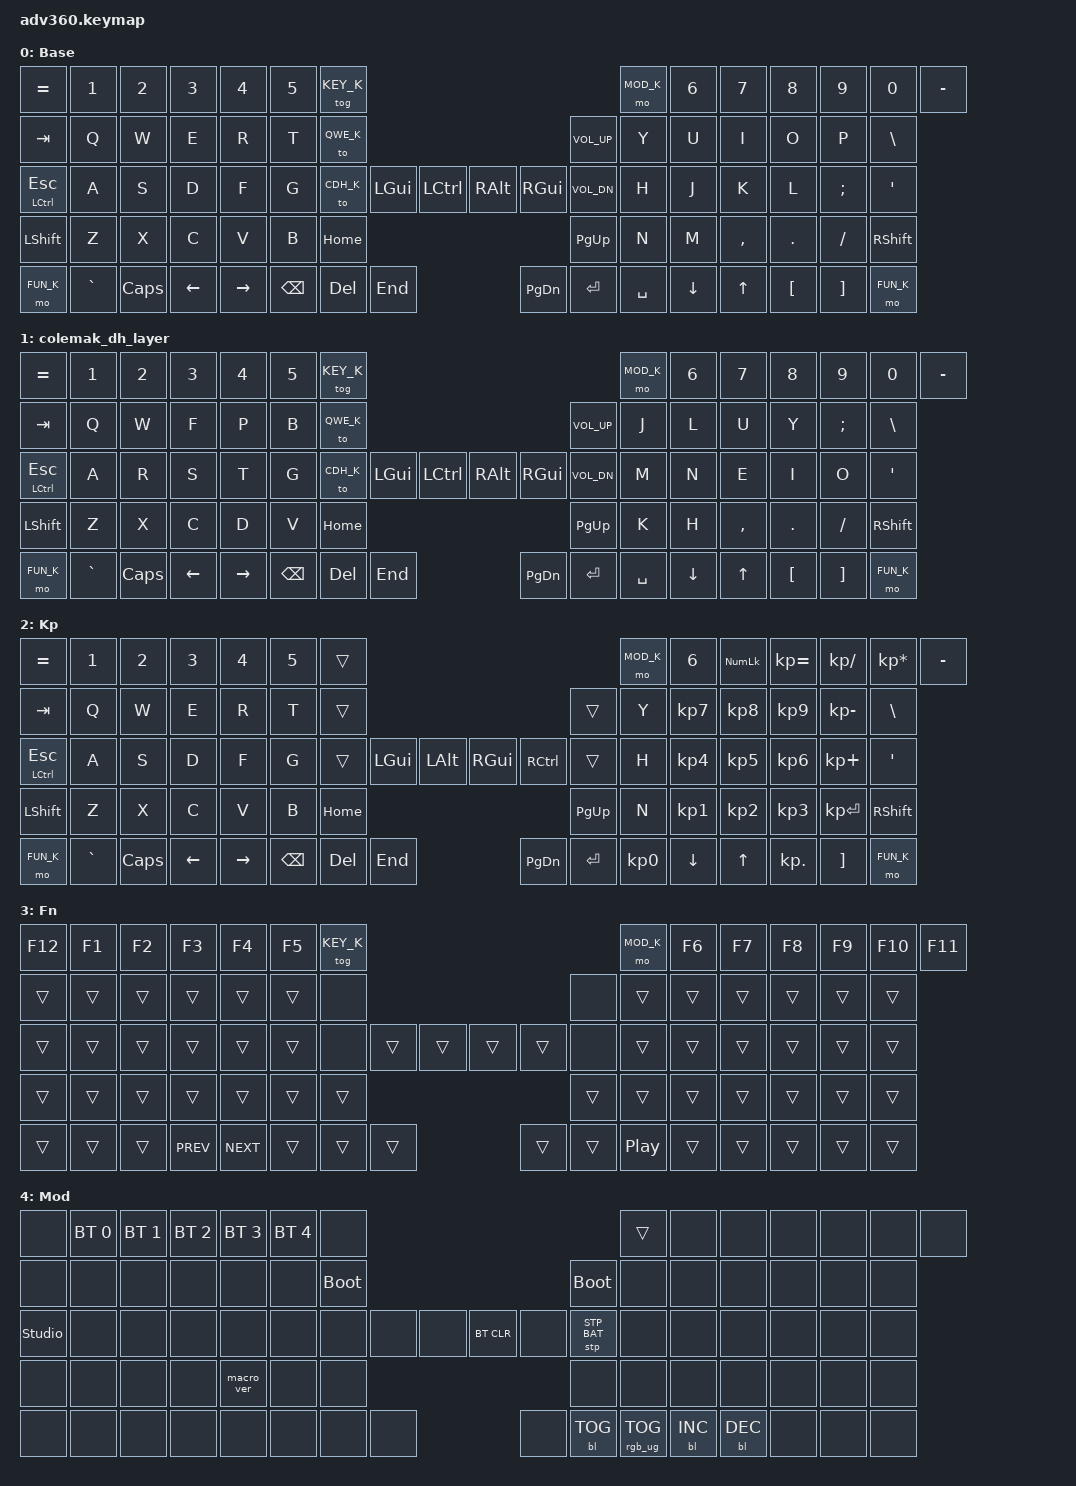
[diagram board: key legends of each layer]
#include <behaviors.dtsi>
#include <dt-bindings/zmk/keys.h>
#include <dt-bindings/zmk/bt.h>
#include <dt-bindings/zmk/rgb.h>
#include <dt-bindings/zmk/stp.h>
#include <dt-bindings/zmk/backlight.h>
#include <dt-bindings/zmk/pointing.h>

#define KEYS_LEFT 0 1 2 3 4 5 6 \
                  14 15 16 17 18 19 20 \
                  28 29 30 31 32 33 34 \
                  46 47 48 49 50 51 \
                  66 67 68 69 70

#define KEYS_RIGHT 7 8 9 10 11 12 13 \
                   21 22 23 24 25 26 27 \
                   39 40 41 42 43 44 45 \
                   60 61 62 63 64 65 \
                   77 78 79 80 81

#define THUMBS_LEFT 35 36 54 71 72 73

#define THUMBS_RIGHT 37 38 57 74 75 76

#define THUMBS THUMBS_LEFT THUMBS_RIGHT

&lt {
    quick-tap-ms = <300>;
    global-quick-tap;
};

/ {
    behaviors {
      #include "macros.dtsi"
      #include "version.dtsi"

      hm: homerow_mods {
            compatible = "zmk,behavior-hold-tap"; // from default https://zmk.dev/docs/behaviors/hold-tap
            label = "HOMEROW_MODS";
            #binding-cells = <2>;
            tapping-term-ms = <200>;    // <---[[moderate duration]]
            quick-tap-ms = <175>;
            flavor = "balanced";
            bindings = <&kp>, <&kp>;
            hold-trigger-on-release;
      };

      hm_sft: homerow_mods_shift {
          flavor = "balanced";
          tapping-term-ms = <150>;
          quick-tap-ms = <175>;                // repeat on tap-into-hold
//          require-prior-idle-ms = <150>;
          compatible = "zmk,behavior-hold-tap";
          label = "HOMEROW_MODS_LEFT";
          #binding-cells = <2>;
          bindings = <&kp>, <&kp>;
          hold-trigger-on-release;             // delay positional check until key-release
      };

      hm_rpi: homerow_mods_prior_idle {
          flavor = "tap-preferred";
          tapping-term-ms = <250>;
//          quick-tap-ms = <175>;                // repeat on tap-into-hold
          require-prior-idle-ms = <150>;
          compatible = "zmk,behavior-hold-tap";
          label = "HOMEROW_MODS_RPI";
          #binding-cells = <2>;
          bindings = <&kp>, <&kp>;
          hold-trigger-on-release;             // delay positional check until key-release
      };

      hm_alt: homerow_mods_alt {
          flavor = "tap-preferred";
          tapping-term-ms = <200>;
//          quick-tap-ms = <175>;                // repeat on tap-into-hold
          require-prior-idle-ms = <190>;
          compatible = "zmk,behavior-hold-tap";
          label = "HOMEROW_MODS_ALT";
          #binding-cells = <2>;
          bindings = <&kp>, <&kp>;
          hold-trigger-on-release;             // delay positional check until key-release
      };

      hm_l: homerow_mods_left {
          flavor = "balanced";
          tapping-term-ms = <200>;
          quick-tap-ms = <175>;                // repeat on tap-into-hold
//          require-prior-idle-ms = <150>;
          compatible = "zmk,behavior-hold-tap";
          label = "HOMEROW_MODS_LEFT";
          #binding-cells = <2>;
          bindings = <&kp>, <&kp>;
          hold-trigger-key-positions = <KEYS_RIGHT THUMBS>;
          hold-trigger-on-release;             // delay positional check until key-release
      };

      hm_r: homerow_mods_right {
          flavor = "balanced";
          tapping-term-ms = <200>;
          quick-tap-ms = <175>;                // repeat on tap-into-hold
//          require-prior-idle-ms = <150>;
          compatible = "zmk,behavior-hold-tap";
          label = "HOMEROW_MODS_RIGHT";
          #binding-cells = <2>;
          bindings = <&kp>, <&kp>;
          hold-trigger-key-positions = <KEYS_LEFT THUMBS>;
          hold-trigger-on-release;             // delay positional check until key-release
      };
    };

    // Home row mods
    #define _F_SFT &hm_sft LSHFT F  // Shift on index fingers
    #define _J_SFT &hm_sft RSHFT J
    #define _D_CMD &hm_rpi LGUI D   // Command on middle fingers
    #define _K_CMD &hm_rpi RGUI K
    #define _M_CTL &hm_rpi RCTRL M
    #define _V_CTL &hm_rpi LCTRL V  // Control on index down
    #define _S_OPT &hm_alt LALT S   // Option on ring finger
    #define _L_OPT &hm_alt RALT L
    #define _ESC_CTL &hm_sft LCTRL ESC  // Control on index down

    // MacOS shortcuts
    #define _1PASS &kp LG(BSLH)      // 1Password
    #define _APEX  &kp LC(UP)        // App exposé
    #define _FQUIT &kp LA(LG(ESC))   // Force quit
    #define _MCTL  &kp LC(DOWN)      // Mission control
    #define _SCRNS &kp LG(LS(N4))    // Screenshot
    #define _EMOJI &kp LC(LG(SPACE)) // Emoji picker
    #define _NEXTS &kp LC(RIGHT)     // Next screen
    #define _PREVS &kp LC(LEFT)      // Previous screen

    #define QWE_K 0 // QWERTY
    #define CDH_K 1 // ColemakDH
    #define KEY_K 2 // Keypad
    #define FUN_K 3 // Function
    #define MOD_K 4 // Mod
  

  keymap {
    compatible = "zmk,keymap";

    default_layer {
      display-name = "Base";
      bindings = <
        &kp EQUAL &kp N1    &kp N2   &kp N3   &kp N4     &kp N5 &tog KEY_K                                                           &mo MOD_K        &kp N6 &kp N7  &kp N8    &kp N9   &kp N0   &kp MINUS
        &kp TAB   &kp Q     &kp W    &kp E    &kp R      &kp T  &to QWE_K                                                     &kp C_VOL_UP &kp Y  &kp U   &kp I     &kp O    &kp P    &kp BSLH
        _ESC_CTL  &kp A     &kp S    &kp D    &kp F      &kp G  &to CDH_K          &kp LGUI &kp LCTRL &kp RALT  &kp RGUI     &kp C_VOL_DN  &kp H  &kp J   &kp K     &kp L    &kp SEMI &kp SQT
        &kp LSHFT &kp Z     &kp X    &kp C    &kp V     &kp B                            &kp HOME &kp PG_UP                               &kp N  &kp M  &kp COMMA &kp DOT  &kp FSLH &kp RSHFT
        &mo FUN_K      &kp GRAVE &kp CAPS &kp LEFT &kp RIGHT                &kp BSPC &kp DEL   &kp END  &kp PG_DN &kp ENTER &kp SPACE           &kp DOWN  &kp UP   &kp LBKT  &kp RBKT &mo FUN_K 
      >;
    };
      colemak_dh_layer {
      bindings = <
        &kp EQUAL &kp N1  &kp N2   &kp N3   &kp N4     &kp N5 &tog KEY_K                                                           &mo MOD_K        &kp N6 &kp N7  &kp N8    &kp N9   &kp N0   &kp MINUS
        &kp TAB   &kp Q     &kp W    &kp F    &kp P      &kp B   &to QWE_K                                                     &kp C_VOL_UP &kp J  &kp L   &kp U     &kp Y    &kp SEMI    &kp BSLH
        _ESC_CTL   &kp A     &kp R    &kp S    &kp T     &kp G  &to CDH_K           &kp LGUI &kp LCTRL &kp RALT  &kp RGUI     &kp C_VOL_DN  &kp M  &kp N   &kp E    &kp I   &kp O &kp SQT
        &kp LSHFT &kp Z     &kp X    &kp C    &kp D     &kp V                            &kp HOME &kp PG_UP                                  &kp K   &kp H  &kp COMMA &kp DOT  &kp FSLH &kp RSHFT
        &mo FUN_K      &kp GRAVE &kp CAPS &kp LEFT &kp RIGHT                &kp BSPC &kp DEL   &kp END  &kp PG_DN &kp ENTER &kp SPACE                     &kp DOWN   &kp UP   &kp LBKT  &kp RBKT &mo FUN_K 
      >;
    };
    keypad {
      display-name = "Kp";
      bindings = <
        &kp EQUAL &kp N1    &kp N2   &kp N3   &kp N4     &kp N5 &trans                                                           &mo MOD_K &kp N6 &kp KP_NUM &kp KP_EQUAL &kp KP_DIVIDE &kp KP_MULTIPLY &kp MINUS
        &kp TAB   &kp Q     &kp W    &kp E    &kp R      &kp T  &trans                                                           &trans &kp Y  &kp KP_N7  &kp KP_N8    &kp KP_N9     &kp KP_MINUS    &kp BSLH
        _ESC_CTL  &kp A     &kp S    &kp D    &kp F      &kp G  &trans           &kp LGUI &kp LALT &kp RGUI &kp RCTRL           &trans &kp H  &kp KP_N4  &kp KP_N5    &kp KP_N6     &kp KP_PLUS     &kp SQT
        &kp LSHFT &kp Z     &kp X    &kp C    &kp V      &kp B                            &kp HOME &kp PG_UP                           &kp N  &kp KP_N1  &kp KP_N2    &kp KP_N3     &kp KP_ENTER    &kp RSHFT
        &mo FUN_K     &kp GRAVE &kp CAPS &kp LEFT &kp RIGHT                &kp BSPC &kp DEL   &kp END  &kp PG_DN &kp ENTER &kp KP_N0          &kp DOWN   &kp UP &kp KP_DOT    &kp RBKT        &mo FUN_K 
      >;
    };
    fn {
      display-name = "Fn";
      bindings = <
        &kp F12 &kp F1 &kp F2 &kp F3 &kp F4 &kp F5 &tog KEY_K                                           &mo MOD_K &kp F6 &kp F7 &kp F8 &kp F9 &kp F10 &kp F11
        &trans  &trans &trans &trans &trans &trans  &none                                           &none &trans &trans &trans &trans  &trans  &trans
        &trans  &trans &trans &trans &trans &trans  &none        &trans &trans &trans &trans        &none &trans &trans &trans &trans  &trans  &trans
        &trans  &trans &trans &trans &trans &trans                      &trans &trans                     &trans &trans &trans &trans  &trans  &trans
        &trans  &trans &trans &kp C_PREV &kp C_NEXT               &trans &trans &trans &trans &trans &kp C_PP              &trans &trans &trans  &trans  &trans
      >;
    };

    mod {
      display-name = "Mod";
      bindings = <
        &none &bt BT_SEL 0 &bt BT_SEL 1 &bt BT_SEL 2 &bt BT_SEL 3 &bt BT_SEL 4 &none                                                                     &trans                 &none        &none        &none        &none &none &none
        &none &none        &none        &none        &none        &none        &bootloader                                                               &bootloader            &none        &none        &none        &none &none &none
        &studio_unlock &none        &none        &none        &none        &none        &none                   &none &none &bt BT_CLR &none                      &stp STP_BAT &none        &none        &none        &none &none &none
        &none &none        &none        &none        &macro_ver   &none                                      &none &none                                                        &none        &none        &none        &none &none &none
        &none &none        &none        &none        &none                                       &none &none &none &none      &bl BL_TOG &rgb_ug RGB_TOG                                     &bl BL_INC   &bl BL_DEC   &none &none &none
      >;
    };
    extra1 { 
      display-name = "Red";    
      status = "reserved";
    };

    extra2 { 
      display-name = "Purple";    
      status = "reserved";
    };

    extra3 { 
      display-name = "Cyan";    
      status = "reserved";
    };

    extra4 { 
      display-name = "Yellow";    
      status = "reserved";
    };
  };
};
